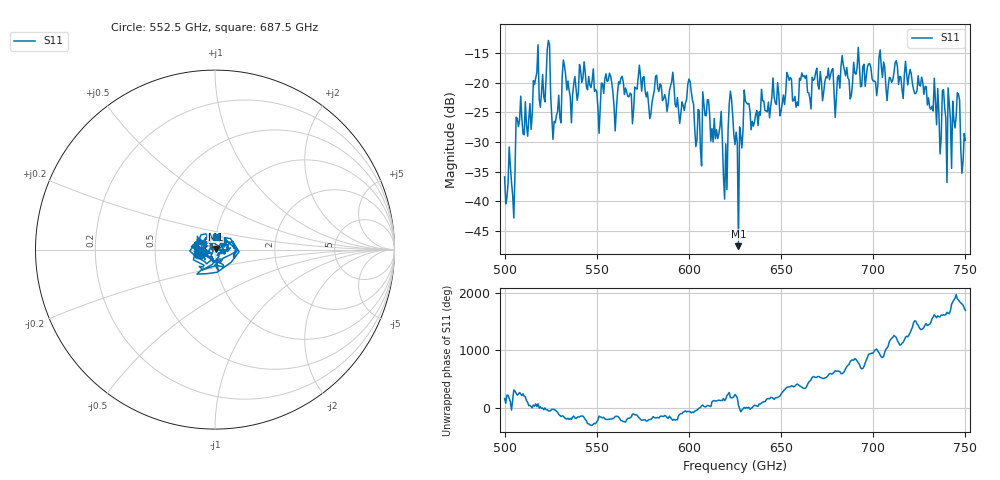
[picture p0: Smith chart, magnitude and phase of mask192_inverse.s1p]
!Created with skrf (http://scikit-rf.org).
# GHz S MA R 50.0
!freq magS11 angS11
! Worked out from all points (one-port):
!   401 points, 500 GHz to 750 GHz, reference 50 ohm
!   lowest |S11| = -47.6 dB at 626.9 GHz (marker M1), VSWR 1.01, Z = 50.3 + j0.297 ohm
!   |S11| at or under -10 dB: start of sweep to end of sweep
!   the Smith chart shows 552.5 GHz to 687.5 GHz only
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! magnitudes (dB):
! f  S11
! 500 GHz  -35.9
! 504.4 GHz  -39.0
! 507.5 GHz  -27.4
! 513.8 GHz  -23.5
! 516.9 GHz  -19.2
! 520.6 GHz  -18.6
! 523.8 GHz  -12.9
! 526.9 GHz  -26.5
! 531.2 GHz  -18.8
! 560 GHz  -28.1
! 562.5 GHz  -20.2
! 593.8 GHz  -22.5
! 600.6 GHz  -19.8
! 605.6 GHz  -24.7
! 608.8 GHz  -25.5
! 616.9 GHz  -27.4
! 619.4 GHz  -39.6
! 622.5 GHz  -21.4
! 625 GHz  -30.5
! 626.9 GHz  -47.6
! 631.2 GHz  -23.4
! 635 GHz  -27.3
! 656.2 GHz  -23.1
! 687.5 GHz  -22.7
! 718.8 GHz  -20.4
! 741.2 GHz  -23.4
! 745.6 GHz  -21.7
! 750 GHz  -29.7
